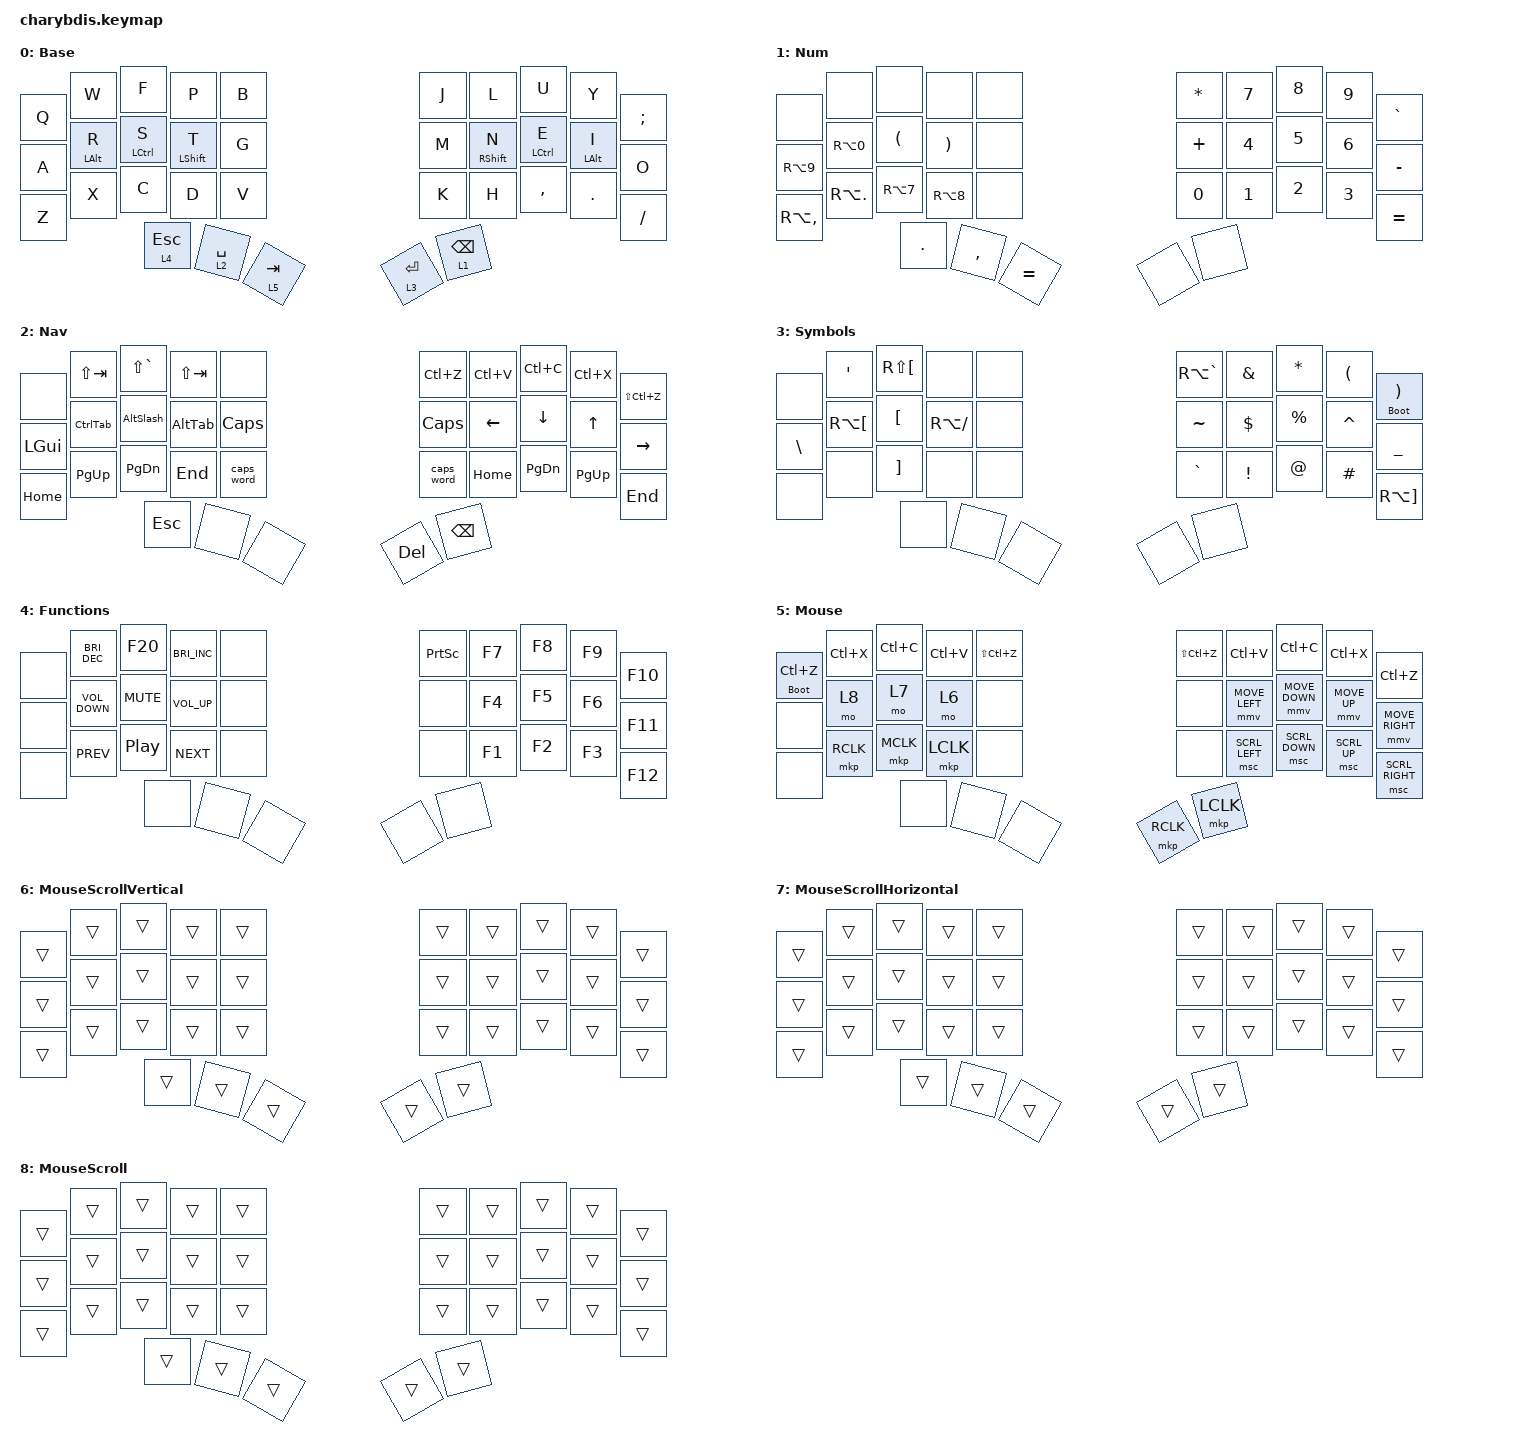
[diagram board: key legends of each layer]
#include <dt-bindings/zmk/mouse.h>
#include <input/processors.dtsi>
#include <dt-bindings/zmk/input_transform.h>
#include <scroll-snap.dtsi>
#include <behaviors.dtsi>
#include <dt-bindings/zmk/keys.h>
#include <dt-bindings/zmk/pointing.h>

#define ZMK_POINTING_DEFAULT_SCRL_VAL 25

&lt {
    flavor = "hold-preferred";
    tapping-term-ms = <200>;
};

/ {
    zip_scroll_snap_h: zip_scroll_snap_h {
        compatible = "zmk,input-processor-scroll-snap";
        #input-processor-cells = <0>;
        x-threshold = <1 1>;   // always x snap
        y-threshold = <0 0>;   // never y snap
        xy-threshold = <0 0>;
        require-n-samples = <1>;
        immediate-snap-threshold = <1>;
        lock-duration-ms = <10>;
        lock-for-next-n-events = <1000>;
        idle-reset-timeout-ms = <200>;
    };

    zip_scroll_snap_v: zip_scroll_snap_v {
        compatible = "zmk,input-processor-scroll-snap";
        #input-processor-cells = <0>;
        x-threshold = <0 0>;   // never x snap
        y-threshold = <1 1>;   // always y snap
        xy-threshold = <0 0>;
        require-n-samples = <1>;
        immediate-snap-threshold = <1>;
        lock-duration-ms = <10>;
        lock-for-next-n-events = <1000>;
        idle-reset-timeout-ms = <200>;
    };

    trackball_listener {
        compatible = "zmk,input-listener";
        device = <&trackball>;

        v_scroller {
            layers = <6>;
            input-processors =
                <&zip_xy_to_scroll_mapper &zip_scroll_snap_v>,
                <&zip_xy_transform (INPUT_TRANSFORM_Y_INVERT)>;
        };

        h_scroller {
            layers = <7>;
            input-processors =
                <&zip_xy_to_scroll_mapper &zip_scroll_snap_h>,
                <&zip_xy_transform (INPUT_TRANSFORM_Y_INVERT)>;
        };

        scroller {
            layers = <8>;
            input-processors =
                <&zip_xy_to_scroll_mapper>,
                <&zip_xy_transform (INPUT_TRANSFORM_Y_INVERT)>;
        };

        precision {
            layers = <5>;
            input-processors = <&zip_xy_scaler 1 2>;   // half speed of trackball movement
        };
    };

    behaviors {
        AltTab: AltTab {
            compatible = "zmk,behavior-tri-state";
            #binding-cells = <0>;
            bindings = <&kt LALT>, <&kp TAB>, <&kt LALT>;

            ignored-key-positions = <2 3 30>;
        };

        AltSlash: AltSlash {
            compatible = "zmk,behavior-tri-state";
            #binding-cells = <0>;
            bindings = <&kt LALT>, <&kp GRAVE>, <&kt LALT>;

            ignored-key-positions = <2 3 30>;
        };

        CtrlTab: CtrlTab {
            compatible = "zmk,behavior-tri-state";
            #binding-cells = <0>;
            bindings = <&kt LCTRL>, <&kp TAB>, <&kt LCTRL>;

            ignored-key-positions = <1 30>;
        };

        HRMR: HRMR {
            compatible = "zmk,behavior-hold-tap";
            label = "HRMR";
            bindings = <&kp>, <&kp>;

            #binding-cells = <2>;
            tapping-term-ms = <250>;
            hold-while-undecided;
            hold-trigger-key-positions = <20 0 1 2 3 4 10 11 12 13 14 21 22 23 24 33 32 30 31>;
            flavor = "balanced";
            require-prior-idle-ms = <100>;
        };

        HRML: HRML {
            compatible = "zmk,behavior-hold-tap";
            label = "HRML";
            bindings = <&kp>, <&kp>;

            #binding-cells = <2>;
            tapping-term-ms = <250>;
            hold-while-undecided;
            hold-trigger-key-positions = <5 6 7 8 9 15 16 17 18 19 25 26 27 28 29 33 32 30 31>;
            flavor = "balanced";
            require-prior-idle-ms = <100>;
        };

        HRMRWait: HRMRWait {
            compatible = "zmk,behavior-hold-tap";
            label = "HRMRWAIT";
            bindings = <&kp>, <&kp>;

            #binding-cells = <2>;
            tapping-term-ms = <250>;
            hold-trigger-key-positions = <20 0 1 2 3 4 10 11 12 13 14 21 22 23 24>;
            flavor = "balanced";
            require-prior-idle-ms = <150>;
        };

        HRMLWait: HRMLWait {
            compatible = "zmk,behavior-hold-tap";
            label = "HRMLWAIT";
            bindings = <&kp>, <&kp>;

            #binding-cells = <2>;
            tapping-term-ms = <250>;
            hold-trigger-key-positions = <5 6 7 8 9 15 16 17 18 19 25 26 27 28 29 32 33 34 31>;
            flavor = "balanced";
            require-prior-idle-ms = <150>;
        };

        Bootloader: Bootloader {
            compatible = "zmk,behavior-hold-tap";
            label = "BOOTLOADER";
            bindings = <&bootloader>, <&kp>;

            #binding-cells = <2>;
            tapping-term-ms = <2000>;
            flavor = "tap-preferred";
        };

        ltmouse: ltmouse {
            compatible = "zmk,behavior-hold-tap";
            label = "LTMOUSE";
            bindings = <&mo>, <&kp>;

            #binding-cells = <2>;
            tapping-term-ms = <150>;
            hold-trigger-key-positions = <33 34 23 13 0 12 11 22 21 20 10 1 2 3 4 14 24 25 15 5 6 16 26 27 17 7 8 18 28 29 19 9 31 30>;
        };

        ltbackspace: ltbackspace {
            compatible = "zmk,behavior-hold-tap";
            label = "LTBACKSPACE";
            bindings = <&mo>, <&kp>;

            #binding-cells = <2>;
            tapping-term-ms = <200>;
            flavor = "tap-preferred";
            quick-tap-ms = <100>;
            hold-while-undecided;
        };
    };

    keymap {
        compatible = "zmk,keymap";

        Base {
            bindings = <
&kp Q  &kp W                 &kp F          &kp P               &kp B           &kp J  &kp L                &kp U          &kp Y                 &kp SEMICOLON
&kp A  &HRMLWait LEFT_ALT R  &HRML LCTRL S  &HRML LEFT_SHIFT T  &kp G           &kp M  &HRMR RIGHT_SHIFT N  &HRMR LCTRL E  &HRMRWait LEFT_ALT I  &kp O
&kp Z  &kp X                 &kp C          &kp D               &kp V           &kp K  &kp H                &kp COMMA      &kp DOT               &kp SLASH
                             &lt 4 ESCAPE   &lt 2 SPACE         &ltmouse 5 TAB                                             &lt 3 ENTER           &ltbackspace 1 BACKSPACE
            >;
        };

        Num {
            bindings = <
&none          &none           &none                 &none                  &none      &kp ASTERISK  &kp N7  &kp N8  &kp N9  &kp GRAVE
&kp RA(N9)     &kp RA(N0)      &kp LEFT_PARENTHESIS  &kp RIGHT_PARENTHESIS  &none      &kp PLUS      &kp N4  &kp N5  &kp N6  &kp MINUS
&kp RA(COMMA)  &kp RA(PERIOD)  &kp RA(N7)            &kp RA(N8)             &none      &kp NUMBER_0  &kp N1  &kp N2  &kp N3  &kp EQUAL
                               &kp PERIOD            &kp COMMA              &kp EQUAL                                &none   &none
            >;
        };

        Nav {
            bindings = <
&none         &kp LS(TAB)  &kp LS(GRAVE)  &kp LS(TAB)  &none         &kp LC(Z)     &kp LC(V)  &kp LC(C)  &kp LC(X)   &kp LS(LC(Z))
&kp LEFT_GUI  &CtrlTab     &AltSlash      &AltTab      &kp CAPSLOCK  &kp CAPSLOCK  &kp LEFT   &kp DOWN   &kp UP      &kp RIGHT
&kp HOME      &kp PG_UP    &kp PG_DN      &kp END      &caps_word    &caps_word    &kp HOME   &kp PG_DN  &kp PG_UP   &kp END
                           &kp ESC        &none        &none                                             &kp DELETE  &kp BACKSPACE
            >;
        };

        Symbols {
            bindings = <
&none          &kp SQT               &kp RS(LEFT_BRACKET)  &none          &none  &kp RA(GRAVE)  &kp AMPERSAND    &kp ASTERISK  &kp LEFT_PARENTHESIS  &Bootloader 0 RIGHT_PARENTHESIS
&kp BACKSLASH  &kp RA(LEFT_BRACKET)  &kp LEFT_BRACKET      &kp RA(SLASH)  &none  &kp TILDE      &kp DOLLAR       &kp PERCENT   &kp CARET             &kp UNDERSCORE
&none          &none                 &kp RIGHT_BRACKET     &none          &none  &kp GRAVE      &kp EXCLAMATION  &kp AT_SIGN   &kp POUND             &kp RA(RIGHT_BRACKET)
                                     &none                 &none          &none                                                &none                 &none
            >;
        };

        Functions {
            bindings = <
&none  &kp C_BRIGHTNESS_DEC  &kp F20     &kp C_BRIGHTNESS_INC  &none  &kp PRINTSCREEN  &kp F7  &kp F8  &kp F9  &kp F10
&none  &kp C_VOLUME_DOWN     &kp C_MUTE  &kp C_VOLUME_UP       &none  &none            &kp F4  &kp F5  &kp F6  &kp F11
&none  &kp C_PREV            &kp C_PP    &kp C_NEXT            &none  &none            &kp F1  &kp F2  &kp F3  &kp F12
                             &none       &none                 &none                                   &none   &none
            >;
        };

        Mouse {
            bindings = <
&Bootloader 0 LC(Z)  &kp LC(X)  &kp LC(C)  &kp LC(V)  &kp LS(LC(Z))  &kp LS(LC(Z))  &kp LC(V)       &kp LC(C)       &kp LC(X)     &kp LC(Z)
&none                &mo 8      &mo 7      &mo 6      &none          &none          &mmv MOVE_LEFT  &mmv MOVE_DOWN  &mmv MOVE_UP  &mmv MOVE_RIGHT
&none                &mkp RCLK  &mkp MCLK  &mkp LCLK  &none          &none          &msc SCRL_LEFT  &msc SCRL_DOWN  &msc SCRL_UP  &msc SCRL_RIGHT
                                &none      &none      &none                                                         &mkp RCLK     &mkp LCLK
            >;
        };

        MouseScrollVertical {
            bindings = <
&trans  &trans  &trans  &trans  &trans  &trans  &trans  &trans  &trans  &trans
&trans  &trans  &trans  &trans  &trans  &trans  &trans  &trans  &trans  &trans
&trans  &trans  &trans  &trans  &trans  &trans  &trans  &trans  &trans  &trans
                &trans  &trans  &trans                          &trans  &trans
            >;
        };

        MouseScrollHorizontal {
            bindings = <
&trans  &trans  &trans  &trans  &trans  &trans  &trans  &trans  &trans  &trans
&trans  &trans  &trans  &trans  &trans  &trans  &trans  &trans  &trans  &trans
&trans  &trans  &trans  &trans  &trans  &trans  &trans  &trans  &trans  &trans
                &trans  &trans  &trans                          &trans  &trans
            >;
        };

        MouseScroll {
            bindings = <
&trans  &trans  &trans  &trans  &trans  &trans  &trans  &trans  &trans  &trans
&trans  &trans  &trans  &trans  &trans  &trans  &trans  &trans  &trans  &trans
&trans  &trans  &trans  &trans  &trans  &trans  &trans  &trans  &trans  &trans
                &trans  &trans  &trans                          &trans  &trans
            >;
        };
    };
};
